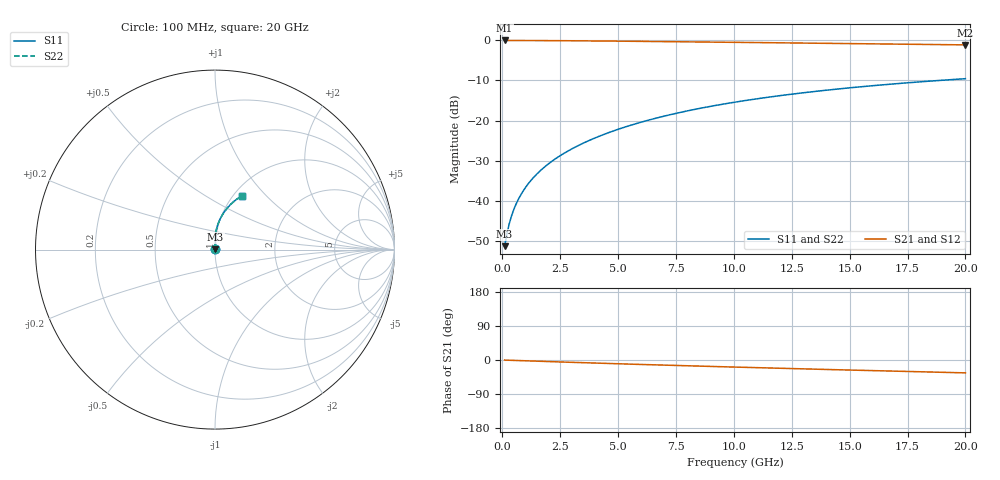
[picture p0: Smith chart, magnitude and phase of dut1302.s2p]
! Touchstone file exported from HFSS 2024.1.0
!  File:  C:/UserFiles/LocalFiles/RDL_TSV_Batchsim/temp_RDL_bottom_1302_1780368166.aedt
!  Generated:  10:45:36 AM Jun  2, 2026
!  Design:  RDL_bottom
!  Project:  temp_RDL_bottom_1302_1780368166
!  Setup:  Setup1
!  Solution:  Sweep
! Variables:
!  dtsv = 10.80580581um
!  hbump = 3um
!  htsv = 56.92um
!  ldown = 446.84um
!  lrdl = 100um
!  p = 40
!  p1 = 59.9um
!  rhole = 1um
!  t = 450um
!  tdown = 3.03um
!  trdl = 3.915915916um
!  wdown = 26.88um
!  wrdl = 20um
# GHz S MA R 50.000000
! Terminal data exported
! Port[1] = RDL1_T1
! Port[2] = RDL1_T2
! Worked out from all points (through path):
!   200 points, 100 MHz to 20 GHz, reference 50 ohm
!   highest |S21| = -0.02 dB at 100 MHz (marker M1); lowest = -1.1 dB at 20 GHz (marker M2)
!   group delay of S21, straight-line fit = 4.66 ps
!   lowest |S11| = -51.3 dB at 100 MHz (marker M3), VSWR 1.01, Z = 50.2 + j0.159 ohm
!   |S11| at or under -10 dB: start of sweep to 18.84 GHz
!   |S22| runs from -51.3 to -9.5 dB; largest |S21 - S12| = 2.1e-15
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0.1  0.002724 35.5  0.9978 -0.2  0.9978 -0.2  0.002724 35.5
! Gamma 0 0 0 0
! Port Impedance 50 0 50 0
0.2  0.003879 53.3  0.9976 -0.4  0.9976 -0.4  0.003879 53.3
0.3  0.005182 62.1  0.9975 -0.6  0.9975 -0.6  0.005182 62.1
0.4  0.00651 67.3  0.9973 -0.9  0.9973 -0.9  0.00651 67.3
0.5  0.007843 70.9  0.9971 -1.1  0.9971 -1.1  0.007843 70.9
0.6  0.009184 73.5  0.997 -1.3  0.997 -1.3  0.009184 73.5
0.8  0.01189 77.2  0.9966 -1.7  0.9966 -1.7  0.01189 77.2
1.1  0.01604 80.8  0.996 -2.3  0.996 -2.3  0.01604 80.8
1.3  0.01886 82.4  0.9956 -2.7  0.9956 -2.7  0.01886 82.4
1.6  0.02316 84.2  0.9947 -3.3  0.9947 -3.3  0.02316 84.1
2.1  0.03052 86.1  0.9931 -4.3  0.9931 -4.3  0.03052 86.1
2.7  0.03968 87.4  0.9907 -5.6  0.9907 -5.6  0.03968 87.4
3.5  0.05245 88.2  0.9869 -7.1  0.9869 -7.1  0.05245 88.2
4.2  0.06411 88.3  0.983 -8.5  0.983 -8.5  0.06411 88.3
5  0.07792 88.0  0.9783 -10.0  0.9783 -10.0  0.07792 88.0
5.9  0.09393 87.2  0.9727 -11.6  0.9727 -11.6  0.09393 87.2
6.8  0.1103 86.1  0.9668 -13.2  0.9668 -13.2  0.1103 86.1
8.4  0.1397 83.7  0.9563 -16.0  0.9563 -16.0  0.1397 83.7
10.1  0.1709 80.7  0.9451 -18.8  0.9451 -18.8  0.1708 80.7
13.4  0.2293 74.8  0.9233 -24.1  0.9233 -24.1  0.2293 74.8
16.7  0.2836 69.0  0.9012 -29.1  0.9012 -29.1  0.2836 69.0
20  0.3332 63.6  0.8788 -34.0  0.8788 -34.0  0.3331 63.6
